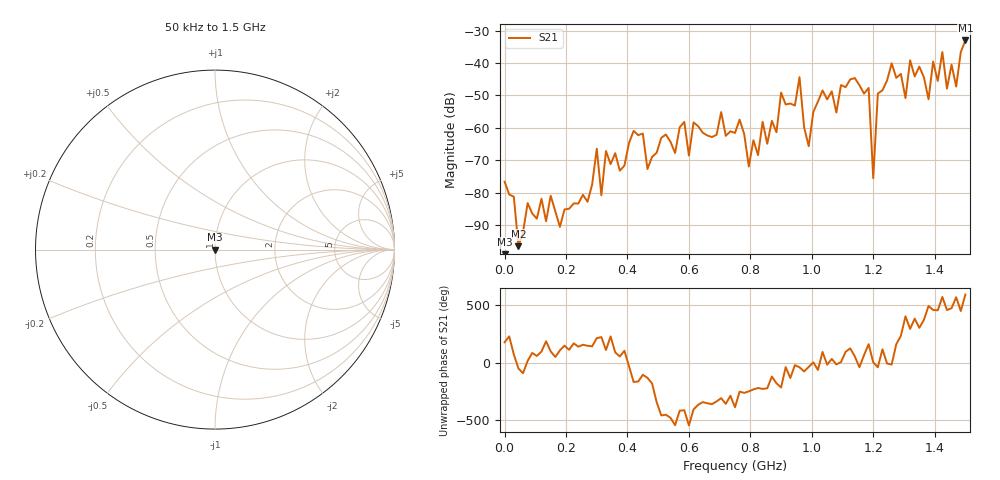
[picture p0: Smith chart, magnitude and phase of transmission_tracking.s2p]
! Created with skrf 1.8.0 (http://scikit-rf.org).
# Hz S RI R 50.0
!freq ReS11 ImS11 ReS21 ImS21 ReS12 ImS12 ReS22 ImS22
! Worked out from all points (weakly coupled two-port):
!   101 points, 50 kHz to 1.5 GHz, reference 50 ohm
!   highest |S21| = -33.04 dB at 1.5 GHz (marker M1); lowest = -96.5 dB at 45.05 MHz (marker M2)
!   lowest |S11| = - dB at 50 kHz (marker M3), VSWR 1.00, Z = 50 + j0 ohm
!   |S11| at or under -10 dB: start of sweep to end of sweep
!   S12 and S22 are empty: the file has one direction only
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50000  0 0  -0.000147 8.83e-06  0 0  0 0
4.50485e7  0 0  9.35e-06 -1.17e-05  0 0  0 0
2.550415e8  0 0  -8.41e-05 3.96e-05  0 0  0 0
3.0004e8  0 0  -0.000404 -0.000254  0 0  0 0
3.150395e8  0 0  -6.84e-05 -6.04e-05  0 0  0 0
3.30039e8  0 0  -0.000144 0.000416  0 0  0 0
4.50035e8  0 0  -0.000228 -0.000785  0 0  0 0
4.650345e8  0 0  -0.000158 -0.00017  0 0  0 0
5.10033e8  0 0  -0.00012 -0.000691  0 0  0 0
7.50025e8  0 0  0.000732 -0.000401  0 0  0 0
7.950235e8  0 0  -8.34e-05 0.00024  0 0  0 0
9.60018e8  0 0  0.00455 -0.004  0 0  0 0
9.90017e8  0 0  0.000413 -0.00032  0 0  0 0
1.005016e9  0 0  0.00176 5.84e-05  0 0  0 0
1.18501e9  0 0  -0.00387 0.00142  0 0  0 0
1.20001e9  0 0  0.000167 6.54e-06  0 0  0 0
1.21501e9  0 0  0.00256 -0.00222  0 0  0 0
1.260008e9  0 0  0.00947 -0.00294  0 0  0 0
1.380004e9  0 0  -0.00185 0.00205  0 0  0 0
1.425002e9  0 0  -0.0127 -0.00751  0 0  0 0
1.470001e9  0 0  -0.00381 -0.00205  0 0  0 0
1.5e9  0 0  -0.0138 -0.0175  0 0  0 0
